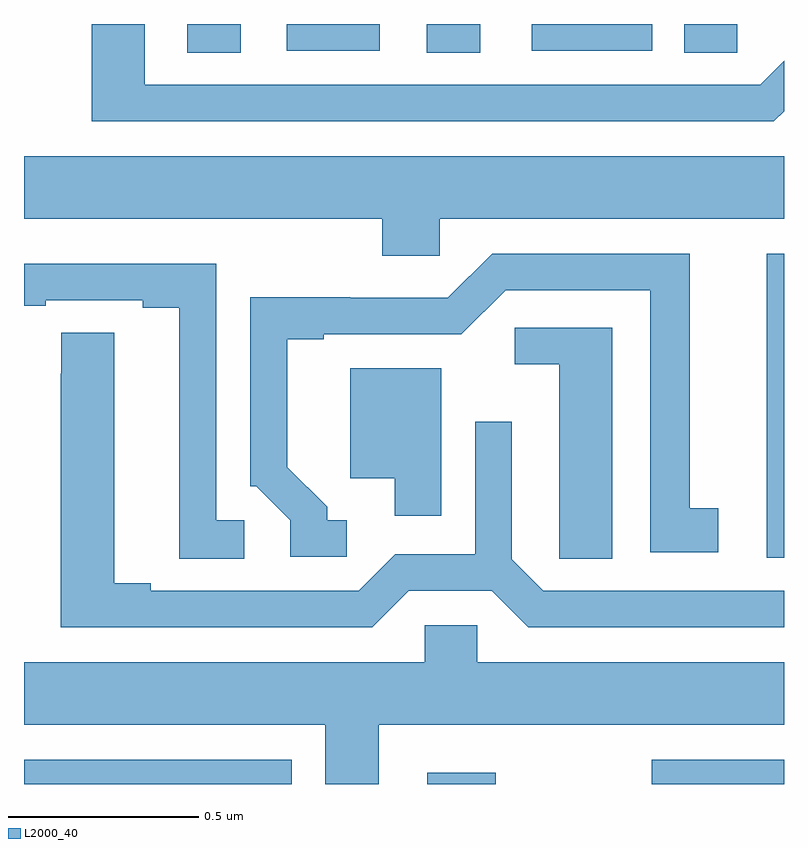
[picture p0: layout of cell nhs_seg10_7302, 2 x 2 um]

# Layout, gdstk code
import gdstk
lib = gdstk.Library(unit=1e-6, precision=1e-09)
def R(c, l, rs):  # rectangles x0, y0, x1, y1
    for r in rs: c.add(gdstk.rectangle(r[:2], r[2:], *l))
def P(c, l, *ps):  # polygons
    for p in ps: c.add(gdstk.Polygon(p, *l))
L2000_40 = (2000, 40)

nhs_seg10_7302 = lib.new_cell('nhs_seg10_7302')
R(nhs_seg10_7302, L2000_40, [(202,1293.5,202.704,1293.564), (203.061,1293.5,203.242,1293.529), (203.652,1293.5,204,1293.564), (203.954,1294.095,204,1294.896), (202.43,1295.425,202.57,1295.5), (203.06,1295.425,203.2,1295.5), (203.738,1295.425,203.877,1295.5), (203.336,1295.429,203.653,1295.5), (202.692,1295.43,202.936,1295.5)])
P(nhs_seg10_7302, L2000_40, [(204,1295.271),(204,1295.403),(203.937,1295.34),(202.318,1295.34),(202.318,1295.5),(202.178,1295.5),(202.178,1295.244),(203.973,1295.244)],
  [(203.094,1294.988),(204,1294.988),(204,1295.152),(202,1295.152),(202,1294.988),(202.943,1294.988),(202.943,1294.89),(203.094,1294.89)],
  [(202.849,1294.194),(202.798,1294.194),(202.798,1294.229),(202.693,1294.334),(202.693,1294.671),(202.789,1294.671),(202.789,1294.683),(203.151,1294.683),(203.268,1294.8),(203.648,1294.8),(203.648,1294.11),(203.827,1294.11),(203.827,1294.226),(203.752,1294.226),(203.752,1294.896),(203.232,1294.896),(203.115,1294.779),(202.859,1294.779),(202.859,1294.781),(202.596,1294.781),(202.596,1294.284),(202.611,1294.284),(202.701,1294.194),(202.701,1294.098),(202.849,1294.098)],
  [(202.579,1294.194),(202.506,1294.194),(202.506,1294.869),(202,1294.869),(202,1294.758),(202.057,1294.758),(202.057,1294.773),(202.313,1294.773),(202.313,1294.753),(202.409,1294.753),(202.409,1294.093),(202.579,1294.093)],
  [(203.548,1294.701),(203.292,1294.701),(203.292,1294.604),(203.408,1294.604),(203.408,1294.201),(203.409,1294.201),(203.409,1294.093),(203.548,1294.093)],
  [(203.013,1294.008),(203.231,1294.008),(203.327,1293.912),(204,1293.912),(204,1294.008),(203.367,1294.008),(203.283,1294.092),(203.283,1294.453),(203.187,1294.453),(203.187,1294.104),(202.977,1294.104),(202.881,1294.008),(202.333,1294.008),(202.333,1294.028),(202.237,1294.028),(202.237,1294.688),(202.098,1294.688),(202.098,1294.58),(202.097,1294.58),(202.097,1293.912),(202.917,1293.912)],
  [(203.098,1294.594),(202.859,1294.594),(202.859,1294.304),(202.976,1294.304),(202.976,1294.206),(203.098,1294.206)],
  [(202.933,1293.656),(204,1293.656),(204,1293.82),(203.193,1293.82),(203.193,1293.918),(203.055,1293.918),(203.055,1293.82),(202,1293.82),(202,1293.656),(202.793,1293.656),(202.793,1293.5),(202.933,1293.5)])

lib.write_gds('nhs_seg10_7302.gds')
